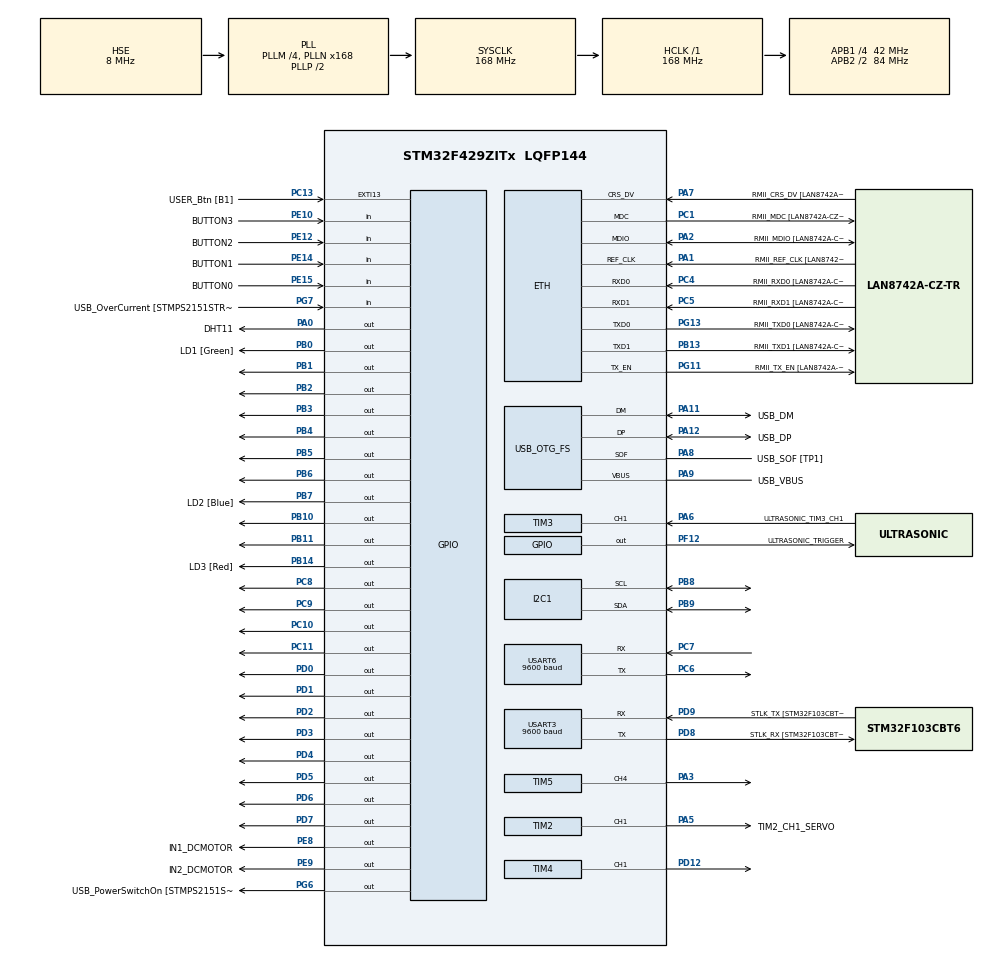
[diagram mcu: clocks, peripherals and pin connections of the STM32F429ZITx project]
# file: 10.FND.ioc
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ETH.MediaInterface=HAL_ETH_RMII_MODE
ETH.PHY_Name=LAN8742A_PHY_ADDRESS
ETH.PHY_Value=0
ETH.PhyAddress=0
Mcu.Family=STM32F4
Mcu.Name=STM32F429ZITx
Mcu.Package=LQFP144
NVIC.PriorityGroup=NVIC_PRIORITYGROUP_4
NVIC.TIM1_TRG_COM_TIM11_IRQn=true\:0\:0\:false\:false\:true\:true\:true\:true
NVIC.TIM1_UP_TIM10_IRQn=true\:0\:0\:false\:false\:true\:true\:true\:true
NVIC.TIM2_IRQn=true\:0\:0\:false\:false\:true\:true\:true\:true
NVIC.TIM3_IRQn=true\:0\:0\:false\:false\:true\:true\:true\:true
NVIC.TIM4_IRQn=true\:0\:0\:false\:false\:true\:true\:true\:true
NVIC.TIM5_IRQn=true\:0\:0\:false\:false\:true\:true\:true\:true
NVIC.USART3_IRQn=true\:0\:0\:false\:false\:true\:true\:true\:true
NVIC.USART6_IRQn=true\:0\:0\:false\:false\:true\:true\:true\:true
PA0/WKUP.GPIO_Label=DHT11
PA0/WKUP.Signal=GPIO_Output
PA1.GPIO_Label=RMII_REF_CLK [LAN8742A-CZ-TR_REFCLK0]
PA1.Mode=RMII
PA1.Signal=ETH_REF_CLK
PA10.GPIO_Label=USB_ID
PA10.Signal=USB_OTG_FS_ID
PA11.GPIO_Label=USB_DM
PA11.Mode=Device_Only
PA11.Signal=USB_OTG_FS_DM
PA12.GPIO_Label=USB_DP
PA12.Mode=Device_Only
PA12.Signal=USB_OTG_FS_DP
PA13.GPIO_Label=TMS
PA13.Mode=Serial_Wire
PA13.Signal=SYS_JTMS-SWDIO
PA14.GPIO_Label=TCK
PA14.Mode=Serial_Wire
PA14.Signal=SYS_JTCK-SWCLK
PA2.GPIO_Label=RMII_MDIO [LAN8742A-CZ-TR_MDIO]
PA2.Mode=RMII
PA2.Signal=ETH_MDIO
PA3.Signal=S_TIM5_CH4
PA5.GPIO_Label=TIM2_CH1_SERVO
PA5.Signal=S_TIM2_CH1_ETR
PA6.GPIO_Label=ULTRASONIC_TIM3_CH1
PA6.Signal=S_TIM3_CH1
PA7.GPIO_Label=RMII_CRS_DV [LAN8742A-CZ-TR_CRS_DV]
PA7.Mode=RMII
PA7.Signal=ETH_CRS_DV
PA8.GPIO_Label=USB_SOF [TP1]
PA8.Mode=Activate_SOF_FS
PA8.Signal=USB_OTG_FS_SOF
PA9.GPIO_Label=USB_VBUS
PA9.Mode=Activate_VBUS
PA9.Signal=USB_OTG_FS_VBUS
PB0.GPIO_Label=LD1 [Green]
PB0.Signal=GPIO_Output
PB1.Signal=GPIO_Output
PB10.Signal=GPIO_Output
PB11.Signal=GPIO_Output
PB13.GPIO_Label=RMII_TXD1 [LAN8742A-CZ-TR_TXD1]
PB13.Mode=RMII
PB13.Signal=ETH_TXD1
PB14.GPIO_Label=LD3 [Red]
PB14.Signal=GPIO_Output
PB2/BOOT1.Signal=GPIO_Output
PB3.Signal=GPIO_Output
PB4.Signal=GPIO_Output
PB5.Signal=GPIO_Output
PB6.Signal=GPIO_Output
PB7.GPIO_Label=LD2 [Blue]
PB7.Signal=GPIO_Output
PB8.Mode=I2C
PB8.Signal=I2C1_SCL
PB9.Mode=I2C
PB9.Signal=I2C1_SDA
PC1.GPIO_Label=RMII_MDC [LAN8742A-CZ-TR_MDC]
PC1.Mode=RMII
PC1.Signal=ETH_MDC
PC10.Signal=GPIO_Output
PC11.Signal=GPIO_Output
PC13.GPIO_Label=USER_Btn [B1]
PC13.Signal=GPXTI13
PC14/OSC32_IN.Mode=LSE-External-Oscillator
PC14/OSC32_IN.Signal=RCC_OSC32_IN
PC15/OSC32_OUT.Mode=LSE-External-Oscillator
PC15/OSC32_OUT.Signal=RCC_OSC32_OUT
PC4.GPIO_Label=RMII_RXD0 [LAN8742A-CZ-TR_RXD0]
PC4.Mode=RMII
PC4.Signal=ETH_RXD0
PC5.GPIO_Label=RMII_RXD1 [LAN8742A-CZ-TR_RXD1]
PC5.Mode=RMII
PC5.Signal=ETH_RXD1
PC6.Mode=Asynchronous
PC6.Signal=USART6_TX
PC7.Mode=Asynchronous
PC7.Signal=USART6_RX
PC8.Signal=GPIO_Output
PC9.Signal=GPIO_Output
PD0.Signal=GPIO_Output
PD1.Signal=GPIO_Output
PD12.Signal=S_TIM4_CH1
PD2.Signal=GPIO_Output
PD3.Signal=GPIO_Output
PD4.Signal=GPIO_Output
PD5.Signal=GPIO_Output
PD6.Signal=GPIO_Output
PD7.Signal=GPIO_Output
PD8.GPIO_Label=STLK_RX [STM32F103CBT6_PA3]
PD8.Mode=Asynchronous
PD8.Signal=USART3_TX
PD9.GPIO_Label=STLK_TX [STM32F103CBT6_PA2]
PD9.Mode=Asynchronous
PD9.Signal=USART3_RX
PE10.GPIO_Label=BUTTON3
PE10.Signal=GPIO_Input
PE12.GPIO_Label=BUTTON2
PE12.Signal=GPIO_Input
PE14.GPIO_Label=BUTTON1
PE14.Signal=GPIO_Input
PE15.GPIO_Label=BUTTON0
PE15.Signal=GPIO_Input
PE8.GPIO_Label=IN1_DCMOTOR
PE8.Signal=GPIO_Output
PE9.GPIO_Label=IN2_DCMOTOR
PE9.Signal=GPIO_Output
PF12.GPIO_Label=ULTRASONIC_TRIGGER
PF12.Signal=GPIO_Output
PG11.GPIO_Label=RMII_TX_EN [LAN8742A-CZ-TR_TXEN]
PG11.Mode=RMII
PG11.Signal=ETH_TX_EN
PG13.GPIO_Label=RMII_TXD0 [LAN8742A-CZ-TR_TXD0]
PG13.Mode=RMII
PG13.Signal=ETH_TXD0
PG6.GPIO_Label=USB_PowerSwitchOn [STMPS2151STR_EN]
PG6.Signal=GPIO_Output
PG7.GPIO_Label=USB_OverCurrent [STMPS2151STR_FAULT]
PG7.Signal=GPIO_Input
PH0/OSC_IN.GPIO_Label=MCO [STM32F103CBT6_PA8]
PH0/OSC_IN.Mode=HSE-External-Clock-Source
PH0/OSC_IN.Signal=RCC_OSC_IN
PH1/OSC_OUT.Mode=HSE-External-Clock-Source
PH1/OSC_OUT.Signal=RCC_OSC_OUT
ProjectManager.HeapSize=0x200
ProjectManager.StackSize=0x400
ProjectManager.TargetToolchain=STM32CubeIDE
RCC.48MHZClocksFreq_Value=48000000
RCC.AHBFreq_Value=168000000
RCC.APB1CLKDivider=RCC_HCLK_DIV4
RCC.APB1Freq_Value=42000000
RCC.APB1TimFreq_Value=84000000
RCC.APB2CLKDivider=RCC_HCLK_DIV2
RCC.APB2Freq_Value=84000000
RCC.APB2TimCLKDivider=2
RCC.APB2TimFreq_Value=168000000
RCC.CortexFreq_Value=168000000
RCC.HCLKFreq_Value=168000000
RCC.HSE_VALUE=8000000
RCC.HSI_VALUE=16000000
RCC.PLLM=4
RCC.PLLMUL=RCC_PLL_MUL9
RCC.PLLN=168
RCC.PLLQ=7
RCC.PRESCALERUSB=RCC_USBCLKSOURCE_PLL_DIV1_5
RCC.SYSCLKFreq_VALUE=168000000
RCC.SYSCLKSource=RCC_SYSCLKSOURCE_PLLCLK
RCC.SYSCLKSourceVirtual=RCC_SYSCLKSOURCE_PLLCLK
RCC.USBFreq_Value=48000000
RCC.VCOOutputFreq_Value=336000000
RTC.Date=16
RTC.Hours=9
RTC.Minutes=38
RTC.Month=RTC_MONTH_OCTOBER
RTC.Year=23
SH.S_TIM2_CH1_ETR.0=TIM2_CH1,PWM Generation1 CH1
SH.S_TIM3_CH1.0=TIM3_CH1,Input_Capture1_from_TI1
SH.S_TIM4_CH1.0=TIM4_CH1,PWM Generation1 CH1
SH.S_TIM5_CH4.0=TIM5_CH4,PWM Generation4 CH4
TIM10.Period=10000-1
TIM10.Prescaler=168-1
TIM11.Prescaler=168-1
TIM2.Channel-PWM\ Generation1\ CH1=TIM_CHANNEL_1
TIM2.Period=1000-1
TIM2.Prescaler=1680-1
TIM2.Pulse-PWM\ Generation1\ CH1=500-1
TIM3.Channel-Input_Capture1_from_TI1=TIM_CHANNEL_1
TIM3.ICPolarity_CH1=TIM_INPUTCHANNELPOLARITY_BOTHEDGE
TIM3.Prescaler=84-1
TIM4.Channel-PWM\ Generation1\ CH1=TIM_CHANNEL_1
TIM4.OCFastMode_PWM-PWM\ Generation1\ CH1=TIM_OCFAST_ENABLE
TIM4.Period=100-1
TIM4.Prescaler=840-1
TIM4.Pulse-PWM\ Generation1\ CH1=70-1
TIM5.Channel-Output\ Compare4\ CH4=TIM_CHANNEL_4
TIM5.Channel-PWM\ Generation4\ CH4=TIM_CHANNEL_4
TIM5.Period=400-1
TIM5.Prescaler=52.5-1
TIM5.Pulse-PWM\ Generation4\ CH4=200-1
USART3.BaudRate=9600
USART3.VirtualMode=VM_ASYNC
USART6.BaudRate=9600
USART6.VirtualMode=VM_ASYNC
USB_OTG_FS.VirtualMode=Device_Only
VP_RTC_VS_RTC_Activate.Mode=RTC_Enabled
VP_RTC_VS_RTC_Calendar.Mode=RTC_Calendar
VP_TIM10_VS_ClockSourceINT.Mode=Enable_Timer
VP_TIM11_VS_ClockSourceINT.Mode=Enable_Timer
VP_TIM4_VS_ClockSourceINT.Mode=Internal
VP_TIM5_VS_ClockSourceINT.Mode=Internal
VP_TIM5_VS_OPM.Mode=OPM_bit
board=NUCLEO-F429ZI

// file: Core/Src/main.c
/* USER CODE BEGIN Header */
/**
  ******************************************************************************
  * @file           : main.c
  * @brief          : Main program body
  ******************************************************************************
  * @attention
  *
  * Copyright (c) 2023 STMicroelectronics.
  * All rights reserved.
  *
  * This software is licensed under terms that can be found in the LICENSE file
  * in the root directory of this software component.
  * If no LICENSE file comes with this software, it is provided AS-IS.
  *
  ******************************************************************************
  */
/* USER CODE END Header */
#include "main.h"
#include "string.h"

ETH_TxPacketConfig TxConfig;
ETH_DMADescTypeDef  DMARxDscrTab[ETH_RX_DESC_CNT]; /* Ethernet Rx DMA Descriptors */
ETH_DMADescTypeDef  DMATxDscrTab[ETH_TX_DESC_CNT]; /* Ethernet Tx DMA Descriptors */

ETH_HandleTypeDef heth;

I2C_HandleTypeDef hi2c1;

RTC_HandleTypeDef hrtc;

TIM_HandleTypeDef htim2;
TIM_HandleTypeDef htim3;
TIM_HandleTypeDef htim4;
TIM_HandleTypeDef htim5;
TIM_HandleTypeDef htim10;
TIM_HandleTypeDef htim11;

UART_HandleTypeDef huart3;
UART_HandleTypeDef huart6;

PCD_HandleTypeDef hpcd_USB_OTG_FS;

/* USER CODE BEGIN PV */
uint8_t rx_data;	// uart3 rx data
uint8_t bt_rx_data;	// uart6 bt rx data
volatile int TIM10_10ms_counter=0;
volatile int TIM10_10ms_ultrasonic=0;
/* USER CODE END PV */

void SystemClock_Config(void);
static void MX_GPIO_Init(void);
static void MX_ETH_Init(void);
static void MX_USART3_UART_Init(void);
static void MX_USB_OTG_FS_PCD_Init(void);
static void MX_USART6_UART_Init(void);
static void MX_TIM10_Init(void);
static void MX_TIM11_Init(void);
static void MX_TIM3_Init(void);
static void MX_I2C1_Init(void);
static void MX_TIM4_Init(void);
static void MX_TIM2_Init(void);
static void MX_RTC_Init(void);
static void MX_TIM5_Init(void);
/* USER CODE BEGIN PFP */
extern void led_main(void);
extern void pc_command_processing(void);
extern void bt_command_processing(void);
extern void DHT11_main(void);
extern void DHT11_Init(void);
extern void DHT11_processing(void);
extern void ultrasonic_processing(void);
extern void i2c_lcd_main(void);
extern void i2c_lcd_init(void);
extern void lcd_string(uint8_t *str);
extern void move_cursor(uint8_t row, uint8_t column);
extern void dcmotor_pwm_control(void);
extern void servo_motor_test_main(void);
extern void get_rtc(void);
extern void lcd_display_mode_select(void);
extern void set_time_button_ui(void);
extern void buzzer_main(void);
extern void fnd4digit_main(void);
extern fnd4digit_sec_clock(void);

//extern void playSong(void);

void delay_us(unsigned long us);

extern int toggle_DHT;
extern int toggle_sonic;

/* USER CODE END PFP */

/* USER CODE BEGIN 0 */
//-------------------
// call by SysTick_Handler of stm32f4xx_it.c
// ARM default timer
// enter here every 1ms
volatile int t1ms_counter = 0; // volatile : for disable optimize
volatile int fnd1ms_counter = 0; // FND 1ms
void HAL_SYSTICK_Handler(void)
{
	t1ms_counter++;	// 1ms timer
	fnd1ms_counter++;
}
//----------  printf start ----------
#ifdef __GNUC__
/* With GCC, small printf (option LD Linker->Libraries->Small printf
   set to 'Yes') calls __io_putchar() */
#define PUTCHAR_PROTOTYPE int __io_putchar(int ch)
#else
#define PUTCHAR_PROTOTYPE int fputc(int ch, FILE *f)
#endif /* __GNUC_ */
/**
  * @brief  Retargets the C library printf function to the USART.
  * @param  None
  * @retval None
  */
PUTCHAR_PROTOTYPE   // Add for printf
{
  /* Place your implementation of fputc here */
  /* e.g. write a character to the USART3 and Loop until the end of transmission */
  HAL_UART_Transmit(&huart3, (uint8_t *)&ch, 1, 0xFFFF);

  return ch;
}
//----------  printf end ----------

// move from Driver/STM32F4xx_HAL_Driver/stm32f4xx_hal_tim.c to here
// enter here when every timer INT occurs
void HAL_TIM_PeriodElapsedCallback(TIM_HandleTypeDef *htim)
{
	if(htim->Instance == TIM10)
	{
		TIM10_10ms_counter++; // 10ms timer counter
		TIM10_10ms_ultrasonic++; // ultrasonic trigger timer
	}
}

void delay_us(unsigned long us)
{
	__HAL_TIM_SET_COUNTER(&htim11, 0); // tim11 clear
	while(__HAL_TIM_GET_COUNTER(&htim11) < us);
}
/* USER CODE END 0 */

int main(void)
{

  /* MCU Configuration--------------------------------------------------------*/

  /* Reset of all peripherals, Initializes the Flash interface and the Systick. */
  HAL_Init();

  /* Configure the system clock */
  SystemClock_Config();

  /* Initialize all configured peripherals */
  MX_GPIO_Init();
  MX_ETH_Init();
  MX_USART3_UART_Init();
  MX_USB_OTG_FS_PCD_Init();
  MX_USART6_UART_Init();
  MX_TIM10_Init();
  MX_TIM11_Init();
  MX_TIM3_Init();
  MX_I2C1_Init();
  MX_TIM4_Init();
  MX_TIM2_Init();
  MX_RTC_Init();
  MX_TIM5_Init();
  /* USER CODE BEGIN 2 */
  HAL_UART_Receive_IT(&huart3, &rx_data, 1); // assing to RX INT
  HAL_UART_Receive_IT(&huart6, &bt_rx_data, 1); // for BT assing to RX INT
  HAL_TIM_Base_Start_IT(&htim10);	// ADD_JONGHYUN_231011
  HAL_TIM_Base_Start_IT(&htim11);	// ADD_JONGHYUN_231011
  HAL_TIM_IC_Start_IT(&htim3, TIM_CHANNEL_1); // for count pulse(rising edge, & falling edge)
  HAL_TIM_PWM_Start_IT(&htim4, TIM_CHANNEL_1); // for DV motor PWM control
  HAL_TIM_PWM_Start(&htim2, TIM_CHANNEL_1); /// for SERVO motor PWM control
  HAL_TIM_PWM_Start(&htim5, TIM_CHANNEL_4); /// PIEZO Buzzer

  DHT11_Init();
  i2c_lcd_init();

  TIM10_10ms_counter=0;

  // led_main();
  // DHT11_main();
  // i2c_lcd_main();
  // servo_motor_test_main();
  //buzzer_main();
  //fnd4digit_main();

  /* USER CODE END 2 */

  /* Infinite loop */
  /* USER CODE BEGIN WHILE */

  //int toggle_counter=0;
  while (1)
  {
	  pc_command_processing();	//comportmaster
	  //bt_command_processing();//블투
	  DHT11_processing();		//?��?��?��
	  ultrasonic_processing();	//초음?��거리
	  dcmotor_pwm_control();	//모터
	  get_rtc();				//?���???
	  lcd_display_mode_select();
	  set_time_button_ui();
	  fnd4digit_sec_clock();
    /* USER CODE END WHILE */

  }
}

void SystemClock_Config(void)
{
  RCC_OscInitTypeDef RCC_OscInitStruct = {0};
  RCC_ClkInitTypeDef RCC_ClkInitStruct = {0};

  /** Configure the main internal regulator output voltage
  */
  __HAL_RCC_PWR_CLK_ENABLE();
  __HAL_PWR_VOLTAGESCALING_CONFIG(PWR_REGULATOR_VOLTAGE_SCALE1);

  /** Initializes the RCC Oscillators according to the specified parameters
  * in the RCC_OscInitTypeDef structure.
  */
  RCC_OscInitStruct.OscillatorType = RCC_OSCILLATORTYPE_LSI|RCC_OSCILLATORTYPE_HSE;
  RCC_OscInitStruct.HSEState = RCC_HSE_BYPASS;
  RCC_OscInitStruct.LSIState = RCC_LSI_ON;
  RCC_OscInitStruct.PLL.PLLState = RCC_PLL_ON;
  RCC_OscInitStruct.PLL.PLLSource = RCC_PLLSOURCE_HSE;
  RCC_OscInitStruct.PLL.PLLM = 4;
  RCC_OscInitStruct.PLL.PLLN = 168;
  RCC_OscInitStruct.PLL.PLLP = RCC_PLLP_DIV2;
  RCC_OscInitStruct.PLL.PLLQ = 7;
  if (HAL_RCC_OscConfig(&RCC_OscInitStruct) != HAL_OK)
  {
    Error_Handler();
  }

  /** Initializes the CPU, AHB and APB buses clocks
  */
  RCC_ClkInitStruct.ClockType = RCC_CLOCKTYPE_HCLK|RCC_CLOCKTYPE_SYSCLK
                              |RCC_CLOCKTYPE_PCLK1|RCC_CLOCKTYPE_PCLK2;
  RCC_ClkInitStruct.SYSCLKSource = RCC_SYSCLKSOURCE_PLLCLK;
  RCC_ClkInitStruct.AHBCLKDivider = RCC_SYSCLK_DIV1;
  RCC_ClkInitStruct.APB1CLKDivider = RCC_HCLK_DIV4;
  RCC_ClkInitStruct.APB2CLKDivider = RCC_HCLK_DIV2;

  if (HAL_RCC_ClockConfig(&RCC_ClkInitStruct, FLASH_LATENCY_5) != HAL_OK)
  {
    Error_Handler();
  }
}

static void MX_ETH_Init(void)
{

   static uint8_t MACAddr[6];

  heth.Instance = ETH;
  MACAddr[0] = 0x00;
  MACAddr[1] = 0x80;
  MACAddr[2] = 0xE1;
  MACAddr[3] = 0x00;
  MACAddr[4] = 0x00;
  MACAddr[5] = 0x00;
  heth.Init.MACAddr = &MACAddr[0];
  heth.Init.MediaInterface = HAL_ETH_RMII_MODE;
  heth.Init.TxDesc = DMATxDscrTab;
  heth.Init.RxDesc = DMARxDscrTab;
  heth.Init.RxBuffLen = 1524;

  if (HAL_ETH_Init(&heth) != HAL_OK)
  {
    Error_Handler();
  }

  memset(&TxConfig, 0 , sizeof(ETH_TxPacketConfig));
  TxConfig.Attributes = ETH_TX_PACKETS_FEATURES_CSUM | ETH_TX_PACKETS_FEATURES_CRCPAD;
  TxConfig.ChecksumCtrl = ETH_CHECKSUM_IPHDR_PAYLOAD_INSERT_PHDR_CALC;
  TxConfig.CRCPadCtrl = ETH_CRC_PAD_INSERT;

}

static void MX_I2C1_Init(void)
{

  hi2c1.Instance = I2C1;
  hi2c1.Init.ClockSpeed = 100000;
  hi2c1.Init.DutyCycle = I2C_DUTYCYCLE_2;
  hi2c1.Init.OwnAddress1 = 0;
  hi2c1.Init.AddressingMode = I2C_ADDRESSINGMODE_7BIT;
  hi2c1.Init.DualAddressMode = I2C_DUALADDRESS_DISABLE;
  hi2c1.Init.OwnAddress2 = 0;
  hi2c1.Init.GeneralCallMode = I2C_GENERALCALL_DISABLE;
  hi2c1.Init.NoStretchMode = I2C_NOSTRETCH_DISABLE;
  if (HAL_I2C_Init(&hi2c1) != HAL_OK)
  {
    Error_Handler();
  }

  /** Configure Analogue filter
  */
  if (HAL_I2CEx_ConfigAnalogFilter(&hi2c1, I2C_ANALOGFILTER_ENABLE) != HAL_OK)
  {
    Error_Handler();
  }

  /** Configure Digital filter
  */
  if (HAL_I2CEx_ConfigDigitalFilter(&hi2c1, 0) != HAL_OK)
  {
    Error_Handler();
  }

}

static void MX_RTC_Init(void)
{

  RTC_TimeTypeDef sTime = {0};
  RTC_DateTypeDef sDate = {0};

  /** Initialize RTC Only
  */
  hrtc.Instance = RTC;
  hrtc.Init.HourFormat = RTC_HOURFORMAT_24;
  hrtc.Init.AsynchPrediv = 127;
  hrtc.Init.SynchPrediv = 255;
  hrtc.Init.OutPut = RTC_OUTPUT_DISABLE;
  hrtc.Init.OutPutPolarity = RTC_OUTPUT_POLARITY_HIGH;
  hrtc.Init.OutPutType = RTC_OUTPUT_TYPE_OPENDRAIN;
  if (HAL_RTC_Init(&hrtc) != HAL_OK)
  {
    Error_Handler();
  }

  /** Initialize RTC and set the Time and Date
  */
  sTime.Hours = 0x9;
  sTime.Minutes = 0x38;
  sTime.Seconds = 0x0;
  sTime.DayLightSaving = RTC_DAYLIGHTSAVING_NONE;
  sTime.StoreOperation = RTC_STOREOPERATION_RESET;
  if (HAL_RTC_SetTime(&hrtc, &sTime, RTC_FORMAT_BCD) != HAL_OK)
  {
    Error_Handler();
  }
  sDate.WeekDay = RTC_WEEKDAY_MONDAY;
  sDate.Month = RTC_MONTH_OCTOBER;
  sDate.Date = 0x16;
  sDate.Year = 0x23;

  if (HAL_RTC_SetDate(&hrtc, &sDate, RTC_FORMAT_BCD) != HAL_OK)
  {
    Error_Handler();
  }

}

static void MX_TIM2_Init(void)
{

  TIM_MasterConfigTypeDef sMasterConfig = {0};
  TIM_OC_InitTypeDef sConfigOC = {0};

  htim2.Instance = TIM2;
  htim2.Init.Prescaler = 1680-1;
  htim2.Init.CounterMode = TIM_COUNTERMODE_UP;
  htim2.Init.Period = 1000-1;
  htim2.Init.ClockDivision = TIM_CLOCKDIVISION_DIV1;
  htim2.Init.AutoReloadPreload = TIM_AUTORELOAD_PRELOAD_DISABLE;
  if (HAL_TIM_PWM_Init(&htim2) != HAL_OK)
  {
    Error_Handler();
  }
  sMasterConfig.MasterOutputTrigger = TIM_TRGO_RESET;
  sMasterConfig.MasterSlaveMode = TIM_MASTERSLAVEMODE_DISABLE;
  if (HAL_TIMEx_MasterConfigSynchronization(&htim2, &sMasterConfig) != HAL_OK)
  {
    Error_Handler();
  }
  sConfigOC.OCMode = TIM_OCMODE_PWM1;
  sConfigOC.Pulse = 500-1;
  sConfigOC.OCPolarity = TIM_OCPOLARITY_HIGH;
  sConfigOC.OCFastMode = TIM_OCFAST_DISABLE;
  if (HAL_TIM_PWM_ConfigChannel(&htim2, &sConfigOC, TIM_CHANNEL_1) != HAL_OK)
  {
    Error_Handler();
  }
  HAL_TIM_MspPostInit(&htim2);

}

static void MX_TIM3_Init(void)
{

  TIM_MasterConfigTypeDef sMasterConfig = {0};
  TIM_IC_InitTypeDef sConfigIC = {0};

  htim3.Instance = TIM3;
  htim3.Init.Prescaler = 84-1;
  htim3.Init.CounterMode = TIM_COUNTERMODE_UP;
  htim3.Init.Period = 65535;
  htim3.Init.ClockDivision = TIM_CLOCKDIVISION_DIV1;
  htim3.Init.AutoReloadPreload = TIM_AUTORELOAD_PRELOAD_DISABLE;
  if (HAL_TIM_IC_Init(&htim3) != HAL_OK)
  {
    Error_Handler();
  }
  sMasterConfig.MasterOutputTrigger = TIM_TRGO_RESET;
  sMasterConfig.MasterSlaveMode = TIM_MASTERSLAVEMODE_DISABLE;
  if (HAL_TIMEx_MasterConfigSynchronization(&htim3, &sMasterConfig) != HAL_OK)
  {
    Error_Handler();
  }
  sConfigIC.ICPolarity = TIM_INPUTCHANNELPOLARITY_BOTHEDGE;
  sConfigIC.ICSelection = TIM_ICSELECTION_DIRECTTI;
  sConfigIC.ICPrescaler = TIM_ICPSC_DIV1;
  sConfigIC.ICFilter = 0;
  if (HAL_TIM_IC_ConfigChannel(&htim3, &sConfigIC, TIM_CHANNEL_1) != HAL_OK)
  {
    Error_Handler();
  }

}

static void MX_TIM4_Init(void)
{

  TIM_ClockConfigTypeDef sClockSourceConfig = {0};
  TIM_MasterConfigTypeDef sMasterConfig = {0};
  TIM_OC_InitTypeDef sConfigOC = {0};

  htim4.Instance = TIM4;
  htim4.Init.Prescaler = 840-1;
  htim4.Init.CounterMode = TIM_COUNTERMODE_UP;
  htim4.Init.Period = 100-1;
  htim4.Init.ClockDivision = TIM_CLOCKDIVISION_DIV1;
  htim4.Init.AutoReloadPreload = TIM_AUTORELOAD_PRELOAD_DISABLE;
  if (HAL_TIM_Base_Init(&htim4) != HAL_OK)
  {
    Error_Handler();
  }
  sClockSourceConfig.ClockSource = TIM_CLOCKSOURCE_INTERNAL;
  if (HAL_TIM_ConfigClockSource(&htim4, &sClockSourceConfig) != HAL_OK)
  {
    Error_Handler();
  }
  if (HAL_TIM_PWM_Init(&htim4) != HAL_OK)
  {
    Error_Handler();
  }
  sMasterConfig.MasterOutputTrigger = TIM_TRGO_RESET;
  sMasterConfig.MasterSlaveMode = TIM_MASTERSLAVEMODE_DISABLE;
  if (HAL_TIMEx_MasterConfigSynchronization(&htim4, &sMasterConfig) != HAL_OK)
  {
    Error_Handler();
  }
  sConfigOC.OCMode = TIM_OCMODE_PWM1;
  sConfigOC.Pulse = 70-1;
  sConfigOC.OCPolarity = TIM_OCPOLARITY_HIGH;
  sConfigOC.OCFastMode = TIM_OCFAST_ENABLE;
  if (HAL_TIM_PWM_ConfigChannel(&htim4, &sConfigOC, TIM_CHANNEL_1) != HAL_OK)
  {
    Error_Handler();
  }
  HAL_TIM_MspPostInit(&htim4);

}

static void MX_TIM5_Init(void)
{

  TIM_ClockConfigTypeDef sClockSourceConfig = {0};
  TIM_MasterConfigTypeDef sMasterConfig = {0};
  TIM_OC_InitTypeDef sConfigOC = {0};

  htim5.Instance = TIM5;
  htim5.Init.Prescaler = 52.5-1;
  htim5.Init.CounterMode = TIM_COUNTERMODE_UP;
  htim5.Init.Period = 400-1;
  htim5.Init.ClockDivision = TIM_CLOCKDIVISION_DIV1;
  htim5.Init.AutoReloadPreload = TIM_AUTORELOAD_PRELOAD_DISABLE;
  if (HAL_TIM_Base_Init(&htim5) != HAL_OK)
  {
    Error_Handler();
  }
  sClockSourceConfig.ClockSource = TIM_CLOCKSOURCE_INTERNAL;
  if (HAL_TIM_ConfigClockSource(&htim5, &sClockSourceConfig) != HAL_OK)
  {
    Error_Handler();
  }
  if (HAL_TIM_PWM_Init(&htim5) != HAL_OK)
  {
    Error_Handler();
  }
  if (HAL_TIM_OnePulse_Init(&htim5, TIM_OPMODE_SINGLE) != HAL_OK)
  {
    Error_Handler();
  }
  sMasterConfig.MasterOutputTrigger = TIM_TRGO_RESET;
  sMasterConfig.MasterSlaveMode = TIM_MASTERSLAVEMODE_DISABLE;
  if (HAL_TIMEx_MasterConfigSynchronization(&htim5, &sMasterConfig) != HAL_OK)
  {
    Error_Handler();
  }
  sConfigOC.OCMode = TIM_OCMODE_PWM1;
  sConfigOC.Pulse = 200-1;
  sConfigOC.OCPolarity = TIM_OCPOLARITY_HIGH;
  sConfigOC.OCFastMode = TIM_OCFAST_DISABLE;
  if (HAL_TIM_PWM_ConfigChannel(&htim5, &sConfigOC, TIM_CHANNEL_4) != HAL_OK)
  {
    Error_Handler();
  }
  HAL_TIM_MspPostInit(&htim5);

}

static void MX_TIM10_Init(void)
{

  htim10.Instance = TIM10;
  htim10.Init.Prescaler = 168-1;
  htim10.Init.CounterMode = TIM_COUNTERMODE_UP;
  htim10.Init.Period = 10000-1;
  htim10.Init.ClockDivision = TIM_CLOCKDIVISION_DIV1;
  htim10.Init.AutoReloadPreload = TIM_AUTORELOAD_PRELOAD_DISABLE;
  if (HAL_TIM_Base_Init(&htim10) != HAL_OK)
  {
    Error_Handler();
  }

}

static void MX_TIM11_Init(void)
{

  htim11.Instance = TIM11;
  htim11.Init.Prescaler = 168-1;
  htim11.Init.CounterMode = TIM_COUNTERMODE_UP;
  htim11.Init.Period = 65535;
  htim11.Init.ClockDivision = TIM_CLOCKDIVISION_DIV1;
  htim11.Init.AutoReloadPreload = TIM_AUTORELOAD_PRELOAD_DISABLE;
  if (HAL_TIM_Base_Init(&htim11) != HAL_OK)
  {
    Error_Handler();
  }

}

static void MX_USART3_UART_Init(void)
{

  huart3.Instance = USART3;
  huart3.Init.BaudRate = 9600;
  huart3.Init.WordLength = UART_WORDLENGTH_8B;
  huart3.Init.StopBits = UART_STOPBITS_1;
  huart3.Init.Parity = UART_PARITY_NONE;
  huart3.Init.Mode = UART_MODE_TX_RX;
  huart3.Init.HwFlowCtl = UART_HWCONTROL_NONE;
  huart3.Init.OverSampling = UART_OVERSAMPLING_16;
  if (HAL_UART_Init(&huart3) != HAL_OK)
  {
    Error_Handler();
  }

}

static void MX_USART6_UART_Init(void)
{

  huart6.Instance = USART6;
  huart6.Init.BaudRate = 9600;
  huart6.Init.WordLength = UART_WORDLENGTH_8B;
  huart6.Init.StopBits = UART_STOPBITS_1;
  huart6.Init.Parity = UART_PARITY_NONE;
  huart6.Init.Mode = UART_MODE_TX_RX;
  huart6.Init.HwFlowCtl = UART_HWCONTROL_NONE;
  huart6.Init.OverSampling = UART_OVERSAMPLING_16;
  if (HAL_UART_Init(&huart6) != HAL_OK)
  {
    Error_Handler();
  }

}

static void MX_USB_OTG_FS_PCD_Init(void)
{

  hpcd_USB_OTG_FS.Instance = USB_OTG_FS;
  hpcd_USB_OTG_FS.Init.dev_endpoints = 4;
  hpcd_USB_OTG_FS.Init.speed = PCD_SPEED_FULL;
  hpcd_USB_OTG_FS.Init.dma_enable = DISABLE;
  hpcd_USB_OTG_FS.Init.phy_itface = PCD_PHY_EMBEDDED;
  hpcd_USB_OTG_FS.Init.Sof_enable = ENABLE;
  hpcd_USB_OTG_FS.Init.low_power_enable = DISABLE;
  hpcd_USB_OTG_FS.Init.lpm_enable = DISABLE;
  hpcd_USB_OTG_FS.Init.vbus_sensing_enable = ENABLE;
  hpcd_USB_OTG_FS.Init.use_dedicated_ep1 = DISABLE;
  if (HAL_PCD_Init(&hpcd_USB_OTG_FS) != HAL_OK)
  {
    Error_Handler();
  }

}

static void MX_GPIO_Init(void)
{
  GPIO_InitTypeDef GPIO_InitStruct = {0};

  /* GPIO Ports Clock Enable */
  __HAL_RCC_GPIOC_CLK_ENABLE();
  __HAL_RCC_GPIOH_CLK_ENABLE();
  __HAL_RCC_GPIOA_CLK_ENABLE();
  __HAL_RCC_GPIOB_CLK_ENABLE();
  __HAL_RCC_GPIOF_CLK_ENABLE();
  __HAL_RCC_GPIOE_CLK_ENABLE();
  __HAL_RCC_GPIOD_CLK_ENABLE();
  __HAL_RCC_GPIOG_CLK_ENABLE();

  /*Configure GPIO pin Output Level */
  HAL_GPIO_WritePin(DHT11_GPIO_Port, DHT11_Pin, GPIO_PIN_RESET);

  /*Configure GPIO pin Output Level */
  HAL_GPIO_WritePin(GPIOB, LD1_Pin|GPIO_PIN_1|GPIO_PIN_2|GPIO_PIN_10
                          |GPIO_PIN_11|LD3_Pin|GPIO_PIN_3|GPIO_PIN_4
                          |GPIO_PIN_5|GPIO_PIN_6|LD2_Pin, GPIO_PIN_RESET);

  /*Configure GPIO pin Output Level */
  HAL_GPIO_WritePin(ULTRASONIC_TRIGGER_GPIO_Port, ULTRASONIC_TRIGGER_Pin, GPIO_PIN_RESET);

  /*Configure GPIO pin Output Level */
  HAL_GPIO_WritePin(GPIOE, IN1_DCMOTOR_Pin|IN2_DCMOTOR_Pin, GPIO_PIN_RESET);

  /*Configure GPIO pin Output Level */
  HAL_GPIO_WritePin(USB_PowerSwitchOn_GPIO_Port, USB_PowerSwitchOn_Pin, GPIO_PIN_RESET);

  /*Configure GPIO pin Output Level */
  HAL_GPIO_WritePin(GPIOC, GPIO_PIN_8|GPIO_PIN_9|GPIO_PIN_10|GPIO_PIN_11, GPIO_PIN_RESET);

  /*Configure GPIO pin Output Level */
  HAL_GPIO_WritePin(GPIOD, GPIO_PIN_0|GPIO_PIN_1|GPIO_PIN_2|GPIO_PIN_3
                          |GPIO_PIN_4|GPIO_PIN_5|GPIO_PIN_6|GPIO_PIN_7, GPIO_PIN_RESET);

  /*Configure GPIO pin : USER_Btn_Pin */
  GPIO_InitStruct.Pin = USER_Btn_Pin;
  GPIO_InitStruct.Mode = GPIO_MODE_IT_RISING;
  GPIO_InitStruct.Pull = GPIO_NOPULL;
  HAL_GPIO_Init(USER_Btn_GPIO_Port, &GPIO_InitStruct);

  /*Configure GPIO pin : DHT11_Pin */
  GPIO_InitStruct.Pin = DHT11_Pin;
  GPIO_InitStruct.Mode = GPIO_MODE_OUTPUT_PP;
  GPIO_InitStruct.Pull = GPIO_NOPULL;
  GPIO_InitStruct.Speed = GPIO_SPEED_FREQ_LOW;
  HAL_GPIO_Init(DHT11_GPIO_Port, &GPIO_InitStruct);

  /*Configure GPIO pins : LD1_Pin PB1 PB2 PB10
                           PB11 LD3_Pin PB3 PB4
                           PB5 PB6 LD2_Pin */
  GPIO_InitStruct.Pin = LD1_Pin|GPIO_PIN_1|GPIO_PIN_2|GPIO_PIN_10
                          |GPIO_PIN_11|LD3_Pin|GPIO_PIN_3|GPIO_PIN_4
                          |GPIO_PIN_5|GPIO_PIN_6|LD2_Pin;
  GPIO_InitStruct.Mode = GPIO_MODE_OUTPUT_PP;
  GPIO_InitStruct.Pull = GPIO_NOPULL;
  GPIO_InitStruct.Speed = GPIO_SPEED_FREQ_LOW;
  HAL_GPIO_Init(GPIOB, &GPIO_InitStruct);

  /*Configure GPIO pin : ULTRASONIC_TRIGGER_Pin */
  GPIO_InitStruct.Pin = ULTRASONIC_TRIGGER_Pin;
  GPIO_InitStruct.Mode = GPIO_MODE_OUTPUT_PP;
  GPIO_InitStruct.Pull = GPIO_NOPULL;
  GPIO_InitStruct.Speed = GPIO_SPEED_FREQ_LOW;
  HAL_GPIO_Init(ULTRASONIC_TRIGGER_GPIO_Port, &GPIO_InitStruct);

  /*Configure GPIO pins : IN1_DCMOTOR_Pin IN2_DCMOTOR_Pin */
  GPIO_InitStruct.Pin = IN1_DCMOTOR_Pin|IN2_DCMOTOR_Pin;
  GPIO_InitStruct.Mode = GPIO_MODE_OUTPUT_PP;
  GPIO_InitStruct.Pull = GPIO_NOPULL;
  GPIO_InitStruct.Speed = GPIO_SPEED_FREQ_LOW;
  HAL_GPIO_Init(GPIOE, &GPIO_InitStruct);

  /*Configure GPIO pins : BUTTON3_Pin BUTTON2_Pin BUTTON1_Pin BUTTON0_Pin */
  GPIO_InitStruct.Pin = BUTTON3_Pin|BUTTON2_Pin|BUTTON1_Pin|BUTTON0_Pin;
  GPIO_InitStruct.Mode = GPIO_MODE_INPUT;
  GPIO_InitStruct.Pull = GPIO_NOPULL;
  HAL_GPIO_Init(GPIOE, &GPIO_InitStruct);

  /*Configure GPIO pin : USB_PowerSwitchOn_Pin */
  GPIO_InitStruct.Pin = USB_PowerSwitchOn_Pin;
  GPIO_InitStruct.Mode = GPIO_MODE_OUTPUT_PP;
  GPIO_InitStruct.Pull = GPIO_NOPULL;
  GPIO_InitStruct.Speed = GPIO_SPEED_FREQ_LOW;
  HAL_GPIO_Init(USB_PowerSwitchOn_GPIO_Port, &GPIO_InitStruct);

  /*Configure GPIO pin : USB_OverCurrent_Pin */
  GPIO_InitStruct.Pin = USB_OverCurrent_Pin;
  GPIO_InitStruct.Mode = GPIO_MODE_INPUT;
  GPIO_InitStruct.Pull = GPIO_NOPULL;
  HAL_GPIO_Init(USB_OverCurrent_GPIO_Port, &GPIO_InitStruct);

  /*Configure GPIO pins : PC8 PC9 PC10 PC11 */
  GPIO_InitStruct.Pin = GPIO_PIN_8|GPIO_PIN_9|GPIO_PIN_10|GPIO_PIN_11;
  GPIO_InitStruct.Mode = GPIO_MODE_OUTPUT_PP;
  GPIO_InitStruct.Pull = GPIO_NOPULL;
  GPIO_InitStruct.Speed = GPIO_SPEED_FREQ_LOW;
  HAL_GPIO_Init(GPIOC, &GPIO_InitStruct);

  /*Configure GPIO pins : PD0 PD1 PD2 PD3
                           PD4 PD5 PD6 PD7 */
  GPIO_InitStruct.Pin = GPIO_PIN_0|GPIO_PIN_1|GPIO_PIN_2|GPIO_PIN_3
                          |GPIO_PIN_4|GPIO_PIN_5|GPIO_PIN_6|GPIO_PIN_7;
  GPIO_InitStruct.Mode = GPIO_MODE_OUTPUT_PP;
  GPIO_InitStruct.Pull = GPIO_NOPULL;
  GPIO_InitStruct.Speed = GPIO_SPEED_FREQ_LOW;
  HAL_GPIO_Init(GPIOD, &GPIO_InitStruct);

}

void Error_Handler(void)
{
  __disable_irq();
  while (1)
  {
  }
}
